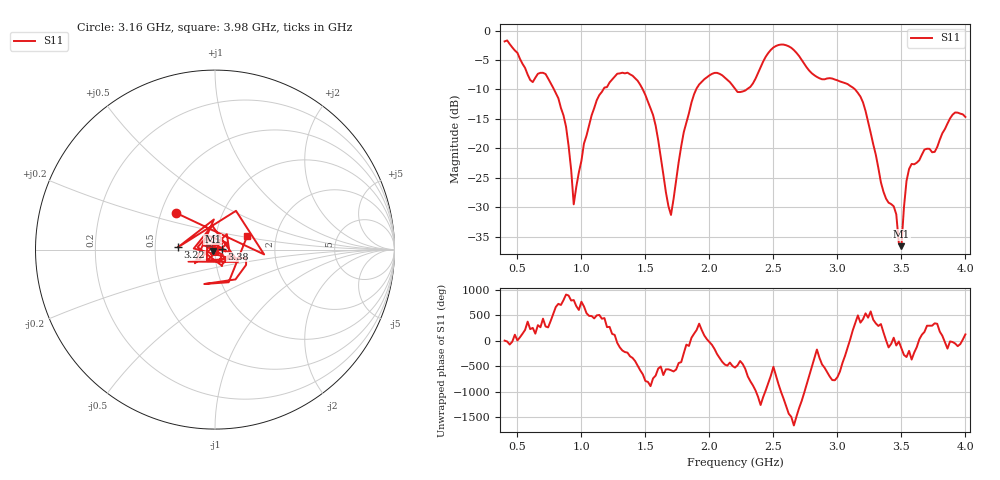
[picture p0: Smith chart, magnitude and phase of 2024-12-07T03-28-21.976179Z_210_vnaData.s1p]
!Created with skrf (http://scikit-rf.org).
# Hz S RI R 50.0
!freq ReS11 ImS11
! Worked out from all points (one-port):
!   181 points, 400 MHz to 4 GHz, reference 50 ohm
!   lowest |S11| = -36.6 dB at 3.5 GHz (marker M1), VSWR 1.03, Z = 48.7 - j0.705 ohm
!   |S11| at or under -10 dB: 786 MHz to 1.171 GHz (385.1 MHz wide, 39.4 % of centre); 1.48 GHz to 1.896 GHz (416.6 MHz wide, 24.7 % of centre); 3.138 GHz to end of sweep (the widest 3 of 4)
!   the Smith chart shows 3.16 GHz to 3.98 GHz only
!   S11 on the Smith chart (normalised r, x): 3.16 GHz: 0.60, +0.27; 3.22 GHz: 0.66, +0.02; 3.38 GHz: 1.08, +0.01; 3.98 GHz: 1.42, +0.22
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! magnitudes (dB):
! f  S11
! 400 MHz  -1.8
! 620 MHz  -8.7
! 720 MHz  -7.4
! 860 MHz  -14.4
! 900 MHz  -19.6
! 940 MHz  -29.5
! 1.02 GHz  -19.2
! 1.12 GHz  -11.8
! 1.3 GHz  -7.3
! 1.44 GHz  -8.5
! 1.56 GHz  -14.4
! 1.7 GHz  -31.3
! 1.76 GHz  -22.3
! 1.92 GHz  -9.2
! 2.2 GHz  -9.9
! 2.32 GHz  -9.6
! 2.5 GHz  -2.9
! 2.66 GHz  -3.3
! 3.1 GHz  -9.4
! 3.16 GHz  -10.6
! 3.22 GHz  -13.7
! 3.38 GHz  -28.6
! 3.44 GHz  -29.9
! 3.5 GHz  -36.6
! 3.54 GHz  -25.5
! 3.56 GHz  -23.5
! 3.98 GHz  -14.2
! 4 GHz  -14.7
